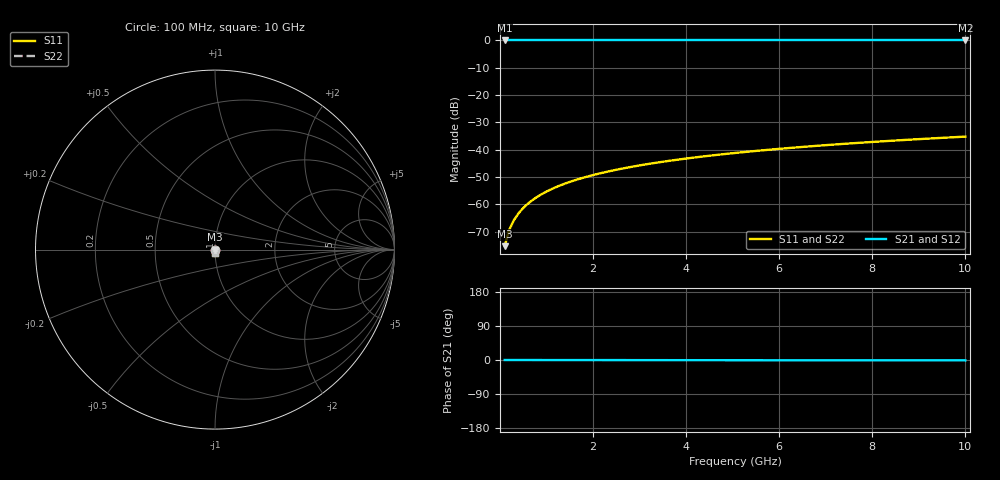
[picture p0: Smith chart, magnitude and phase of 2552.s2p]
# Hz S RI R 50.00
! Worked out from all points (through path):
!   100 points, 100 MHz to 10 GHz, reference 50 ohm
!   highest |S21| = 0.00 dB at 100 MHz (marker M1); lowest = 0.0 dB at 10 GHz (marker M2)
!   lowest |S11| = -75.4 dB at 100 MHz (marker M3), VSWR 1.00, Z = 50 - j0.0171 ohm
!   |S11| at or under -10 dB: start of sweep to end of sweep
!   |S22| runs from -75.4 to -35.2 dB; largest |S21 - S12| = 0
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1e8  8.81e-07 -0.000171  1 -0.000187  1 -0.000187  8.81e-07 -0.000171
2e8  6.21e-07 -0.000341  1 -0.000373  1 -0.000373  6.21e-07 -0.000341
3e8  2.94e-07 -0.000512  1 -0.00056  1 -0.00056  2.94e-07 -0.000512
4e8  -9.79e-08 -0.000682  1 -0.000747  1 -0.000747  -9.79e-08 -0.000682
5e8  -5.55e-07 -0.000853  1 -0.000933  1 -0.000933  -5.55e-07 -0.000853
6e8  -1.08e-06 -0.00102  1 -0.00112  1 -0.00112  -1.08e-06 -0.00102
7e8  -1.66e-06 -0.00119  1 -0.00131  1 -0.00131  -1.66e-06 -0.00119
8e8  -2.31e-06 -0.00137  1 -0.00149  1 -0.00149  -2.31e-06 -0.00137
9e8  -3.03e-06 -0.00154  1 -0.00168  1 -0.00168  -3.03e-06 -0.00154
1.1e9  -4.65e-06 -0.00188  1 -0.00206  1 -0.00206  -4.65e-06 -0.00188
1.4e9  -7.56e-06 -0.00239  1 -0.00262  1 -0.00262  -7.56e-06 -0.00239
1.8e9  -1.24e-05 -0.00308  1 -0.00337  1 -0.00337  -1.24e-05 -0.00308
2.1e9  -1.66e-05 -0.00359  1 -0.00393  1 -0.00393  -1.66e-05 -0.00359
2.5e9  -2.33e-05 -0.00428  1 -0.00468  1 -0.00468  -2.33e-05 -0.00428
2.9e9  -3.09e-05 -0.00497  1 -0.00544  1 -0.00544  -3.09e-05 -0.00497
3.4e9  -4.2e-05 -0.00583  1 -0.00638  1 -0.00638  -4.2e-05 -0.00583
4.2e9  -6.32e-05 -0.00721  0.9999 -0.0079  0.9999 -0.0079  -6.32e-05 -0.00721
5.1e9  -9.21e-05 -0.00878  0.9999 -0.00961  0.9999 -0.00961  -9.21e-05 -0.00878
5.9e9  -0.000122 -0.0102  0.9999 -0.0111  0.9999 -0.0111  -0.000122 -0.0102
6.7e9  -0.000157 -0.0116  0.9998 -0.0127  0.9998 -0.0127  -0.000157 -0.0116
8.4e9  -0.000245 -0.0145  0.9998 -0.0159  0.9998 -0.0159  -0.000245 -0.0145
1e10  -0.000345 -0.0173  0.9996 -0.019  0.9996 -0.019  -0.000345 -0.0173
